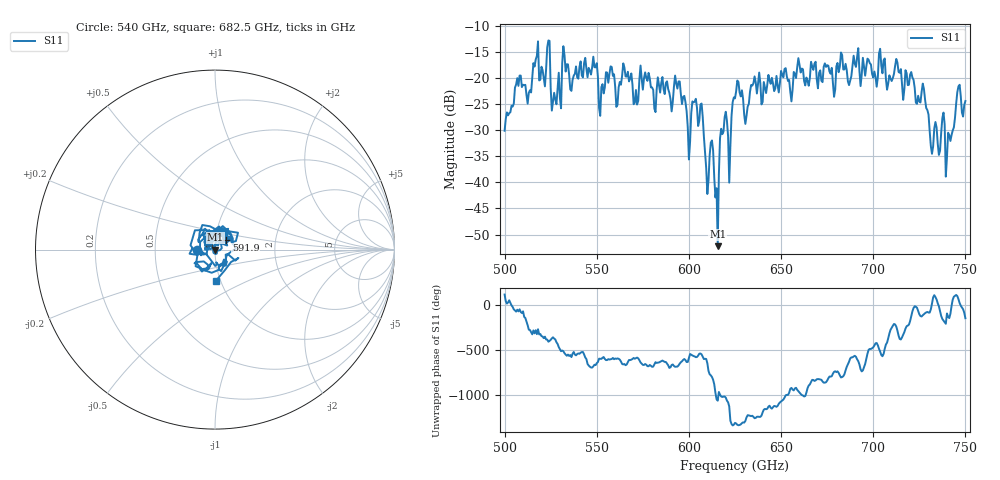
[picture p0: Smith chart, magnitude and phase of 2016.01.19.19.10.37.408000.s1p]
!Created with skrf (http://scikit-rf.org).
# GHz S RI R 50.0
!freq ReS11 ImS11
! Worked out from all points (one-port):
!   401 points, 500 GHz to 750 GHz, reference 50 ohm
!   lowest |S11| = -52.2 dB at 615.6 GHz (marker M1), VSWR 1.00, Z = 50.2 + j0.0487 ohm
!   |S11| at or under -10 dB: start of sweep to end of sweep
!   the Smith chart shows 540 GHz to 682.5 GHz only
!   S11 on the Smith chart (normalised r, x): 540 GHz: 0.82, -0.00; 591.9 GHz: 1.13, +0.12; 682.5 GHz: 0.95, -0.34
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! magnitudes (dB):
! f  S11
! 500 GHz  -30.1
! 507.5 GHz  -21.6
! 513.1 GHz  -22.9
! 516.9 GHz  -16.5
! 523.8 GHz  -12.9
! 526.9 GHz  -22.9
! 531.2 GHz  -17.3
! 540 GHz  -20.2
! 562.5 GHz  -20.8
! 591.9 GHz  -21.7
! 593.8 GHz  -22.1
! 600 GHz  -35.6
! 606.9 GHz  -24.9
! 609.4 GHz  -37.3
! 612.5 GHz  -32.0
! 615.6 GHz  -52.2
! 618.1 GHz  -30.8
! 621.9 GHz  -40.1
! 625 GHz  -23.9
! 656.2 GHz  -22.2
! 682.5 GHz  -15.2
! 687.5 GHz  -20.5
! 718.8 GHz  -21.4
! 727.5 GHz  -22.1
! 731.9 GHz  -34.6
! 740.6 GHz  -30.5
! 746.2 GHz  -21.6
! 750 GHz  -24.5
